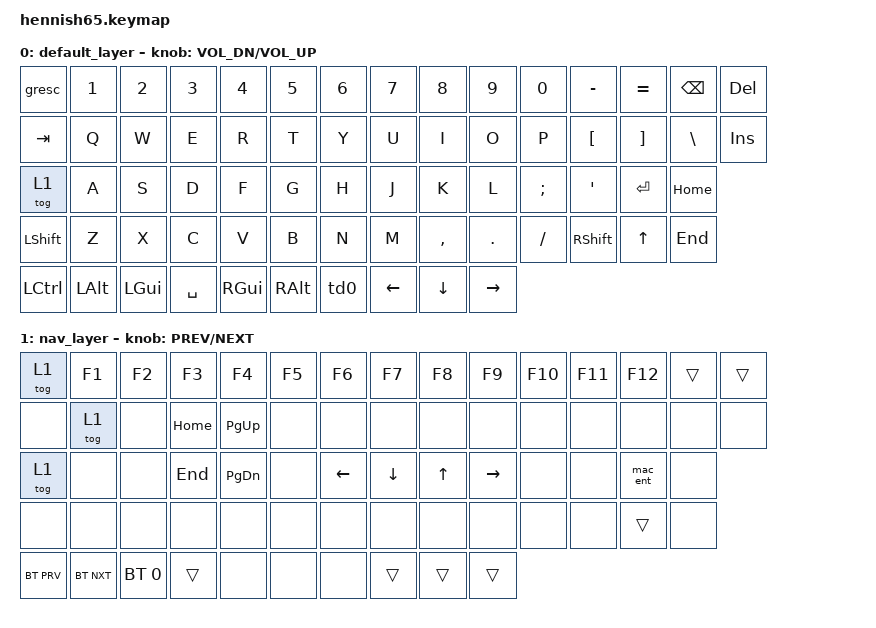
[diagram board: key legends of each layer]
#include <behaviors.dtsi>
#include <dt-bindings/zmk/keys.h>
#include <dt-bindings/zmk/bt.h>
#include <dt-bindings/zmk/outputs.h>
#include <dt-bindings/zmk/rgb.h>
#include <dt-bindings/zmk/ext_power.h>

/{

    macros {
        mac_ent: mac_ent {
            compatible = "zmk,behavior-macro";
            #binding-cells = <0>;
            bindings = <&macro_tap &kp RET>, <&macro_tap &tog 1>;
        };

        mac_lock: mac_lock {
            compatible = "zmk,behavior-macro";
            wait-ms = <0>;
            #binding-cells = <0>;
            bindings = <&macro_press &kp LCTRL &kp LGUI &kp Q>
                     , <&macro_pause_for_release>
                     , <&macro_release &kp LCTRL &kp LGUI &kp Q>
                     ;
        };
    };

    behaviors {
        gresc: grave_escape {
            keep-mods = <(MOD_LSFT|MOD_RSFT)>;
        };
    };

    td0: tap_dance_0 {
            compatible = "zmk,behavior-tap-dance";
            tapping-term-ms = <200>;
            #binding-cells = <0>;
            bindings = <&kp RCTRL>, <&mac_lock>;
        };

    keymap {
        compatible = "zmk,keymap";

        default_layer {
            bindings = <
&gresc    &kp N1   &kp N2   &kp N3    &kp N4   &kp N5   &kp N6 &kp N7   &kp N8    &kp N9    &kp N0   &kp MINUS &kp EQUAL &kp BSPC &kp DEL
&kp TAB   &kp Q    &kp W    &kp E     &kp R    &kp T    &kp Y  &kp U    &kp I     &kp O     &kp P    &kp LBKT  &kp RBKT  &kp BSLH &kp INS
&tog 1    &kp A    &kp S    &kp D     &kp F    &kp G    &kp H  &kp J    &kp K     &kp L     &kp SEMI &kp SQT   &kp ENTER &kp HOME
&kp LSHFT &kp Z    &kp X    &kp C     &kp V    &kp B    &kp N  &kp M    &kp COMMA &kp DOT   &kp FSLH &kp RSHFT &kp UP    &kp END
&kp LCTRL &kp LALT &kp LGUI &kp SPACE &kp RGUI &kp RALT &td0   &kp LEFT &kp DOWN  &kp RIGHT
            >;

            sensor-bindings = <&inc_dec_kp C_VOL_DN C_VOL_UP>;
        };

        nav_layer {
            bindings = <
&tog 1     &kp F1     &kp F2       &kp F3   &kp F4    &kp F5 &kp F6   &kp F7   &kp F8 &kp F9    &kp F10 &kp F11 &kp F12  &trans &trans
&none      &tog 1     &none        &kp HOME &kp PG_UP &none  &none    &none    &none  &none     &none   &none   &none    &none  &none
&tog 1     &none      &none        &kp END  &kp PG_DN &none  &kp LEFT &kp DOWN &kp UP &kp RIGHT &none   &none   &mac_ent &none
&none      &none      &none        &none    &none     &none  &none    &none    &none  &none     &none   &none   &trans   &none
&bt BT_PRV &bt BT_NXT &bt BT_SEL 0 &trans   &none     &none  &none    &trans   &trans &trans
            >;

            sensor-bindings = <&inc_dec_kp C_PREV C_NEXT>;
        };

    };
};
